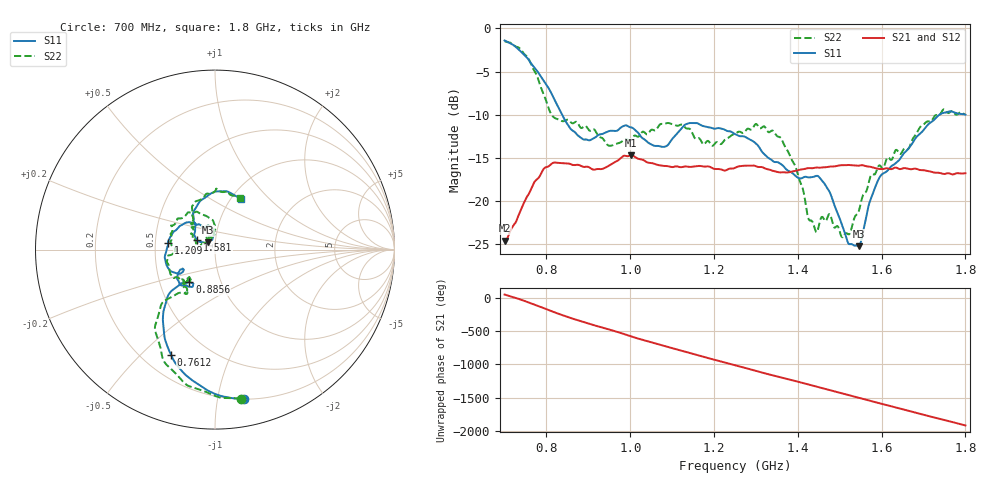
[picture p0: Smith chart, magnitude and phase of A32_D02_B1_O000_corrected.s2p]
! Created with skrf 1.9.0 (http://scikit-rf.org).
# Hz S RI R 50.0
!freq ReS11 ImS11 ReS21 ImS21 ReS12 ImS12 ReS22 ImS22
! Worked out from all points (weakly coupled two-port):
!   1601 points, 700 MHz to 1.8 GHz, reference 50 ohm
!   highest |S21| = -14.69 dB at 1.002 GHz (marker M1); lowest = -24.6 dB at 701.4 MHz (marker M2)
!   lowest |S11| = -25.2 dB at 1.545 GHz (marker M3), VSWR 1.12, Z = 46.2 + j3.74 ohm
!   |S11| at or under -10 dB: 837.5 MHz to 1.738 GHz (900.3 MHz wide, 69.9 % of centre)
!   |S22| runs from -24.2 to -1.5 dB; largest |S21 - S12| = 0.0034
!   S11 on the Smith chart (normalised r, x): 700 MHz: 0.20, -1.19; 761.2 MHz: 0.31, -0.62; 885.6 MHz: 0.71, -0.27; 1.209 GHz: 0.58, +0.05; 1.581 GHz: 0.81, +0.09; 1.8 GHz: 1.11, +0.70
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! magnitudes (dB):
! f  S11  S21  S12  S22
! 700 MHz  -1.4  -24.6  -24.3  -1.5
! 701.4 MHz  -1.4  -24.6  -24.2  -1.5
! 761.2 MHz  -3.9  -18.8  -18.7  -3.9
! 814.1 MHz  -7.8  -15.6  -15.6  -10.1
! 883.6 MHz  -12.7  -15.9  -15.8  -11.5
! 885.6 MHz  -12.8  -16.0  -15.9  -11.5
! 950.2 MHz  -11.9  -15.9  -15.9  -13.6
! 1.002 GHz  -11.5  -14.7  -14.8  -12.8
! 1.067 GHz  -13.6  -15.8  -15.8  -11.3
! 1.138 GHz  -11.0  -16.0  -16.0  -11.6
! 1.209 GHz  -11.5  -16.3  -16.3  -13.2
! 1.25 GHz  -12.2  -16.1  -16.1  -12.2
! 1.359 GHz  -15.7  -16.7  -16.6  -12.6
! 1.394 GHz  -17.1  -16.5  -16.5  -16.0
! 1.434 GHz  -17.2  -16.2  -16.1  -22.3
! 1.47 GHz  -18.5  -16.0  -16.0  -22.0
! 1.508 GHz  -23.1  -15.8  -15.8  -24.1
! 1.545 GHz  -25.2  -15.9  -15.8  -21.2
! 1.581 GHz  -18.9  -16.1  -16.1  -16.9
! 1.617 GHz  -16.3  -16.2  -16.2  -15.0
! 1.738 GHz  -10.0  -16.7  -16.8  -10.0
! 1.8 GHz  -10.0  -16.8  -16.8  -9.9
